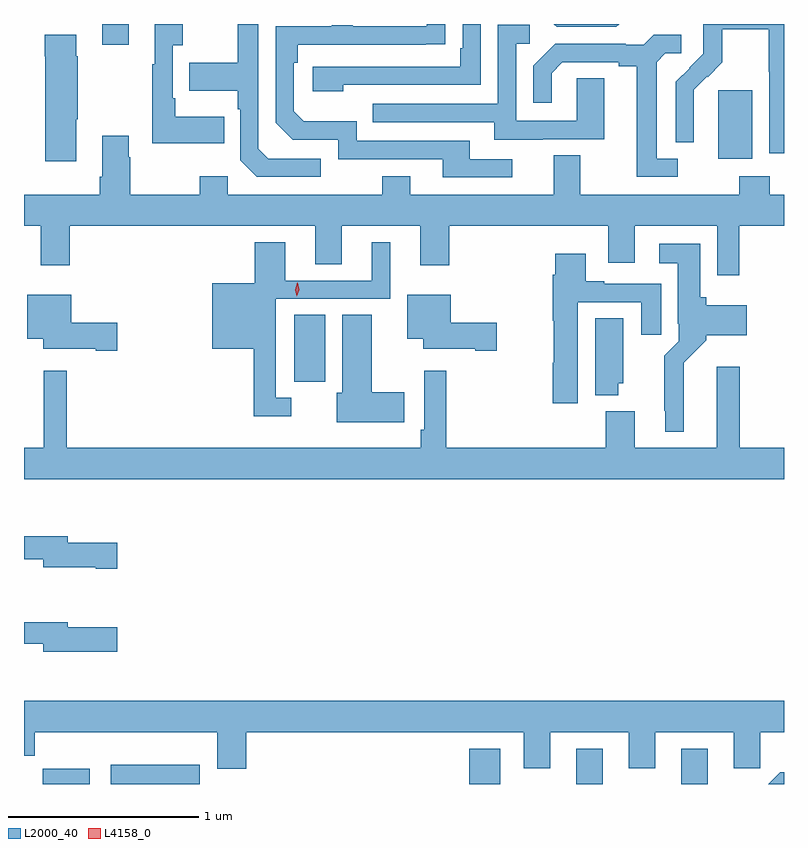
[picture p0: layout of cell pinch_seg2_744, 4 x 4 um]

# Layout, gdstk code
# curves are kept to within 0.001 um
import gdstk
lib = gdstk.Library(unit=1e-6, precision=1e-09)
def R(c, l, rs):  # rectangles x0, y0, x1, y1
    for r in rs: c.add(gdstk.rectangle(r[:2], r[2:], *l))
def P(c, l, *ps):  # polygons
    for p in ps: c.add(gdstk.Polygon(p, *l))
L2000_40 = (2000, 40)
L4158_0 = (4158, 0)

pinch_seg2_744 = lib.new_cell('pinch_seg2_744')
R(pinch_seg2_744, L2000_40, [(814.468,624.719,814.717,624.799), (814.827,624.719,815.296,624.82), (816.713,624.719,816.877,624.904), (817.277,624.719,817.417,624.904), (817.829,624.719,817.969,624.904), (815.792,626.835,815.956,627.188), (818.024,628.01,818.203,628.371), (814.781,628.611,814.921,628.719)])
P(pinch_seg2_744, L2000_40, [(816.94,628.008),(816.715,628.008),(816.715,628.104),(816.12,628.104),(816.12,628.207),(815.843,628.207),(815.79,628.26),(815.79,628.514),(815.81,628.514),(815.81,628.611),(816.587,628.612),(816.587,628.719),(816.491,628.719),(816.491,628.707),(816.101,628.707),(816.101,628.712),(815.989,628.712),(815.989,628.707),(815.694,628.707),(815.694,628.2),(815.784,628.11),(816.024,628.11),(816.024,628.008),(816.575,628.008),(816.575,627.912),(816.94,627.912)],
  [(815.423,628.231),(815.167,628.231),(815.167,628.327),(815.154,628.327),(815.154,628.607),(815.206,628.607),(815.206,628.719),(815.057,628.719),(815.057,628.507),(815.046,628.507),(815.046,628.091),(815.423,628.091)],
  [(818.37,628.719),(817.944,628.719),(817.944,628.659),(817.946,628.659),(817.946,628.562),(817.8,628.414),(817.8,628.096),(817.896,628.096),(817.895,628.373),(817.965,628.443),(817.968,628.44),(818.045,628.517),(818.045,628.692),(818.29,628.692),(818.29,628.468),(818.292,628.468),(818.292,628.039),(818.37,628.039)],
  [(817.503,628.719),(817.158,628.719),(817.173,628.704),(817.488,628.704)],
  [(816.05,628.398),(816.774,628.398),(816.774,628.719),(816.678,628.719),(816.678,628.591),(816.665,628.591),(816.665,628.494),(815.889,628.494),(815.889,628.364),(816.05,628.364)],
  [(815.932,628.011),(815.655,628.011),(815.604,628.062),(815.604,628.719),(815.496,628.719),(815.496,628.515),(815.239,628.515),(815.239,628.367),(815.496,628.367),(815.496,628.271),(815.508,628.271),(815.508,628.002),(815.595,627.915),(815.932,627.915)],
  [(817.099,628.113),(817.423,628.113),(817.423,628.433),(817.278,628.433),(817.278,628.209),(816.96,628.209),(816.96,628.614),(817.033,628.614),(817.033,628.715),(816.864,628.715),(816.864,628.299),(816.205,628.299),(816.205,628.203),(816.845,628.203),(816.845,628.109),(817.099,628.109)],
  [(814.645,628.219),(814.653,628.219),(814.653,628.55),(814.645,628.55),(814.645,628.663),(814.478,628.663),(814.478,628.55),(814.483,628.55),(814.483,627.996),(814.645,627.996)],
  [(817.81,628.011),(817.699,628.011),(817.699,628.519),(817.746,628.566),(817.828,628.566),(817.828,628.663),(817.684,628.663),(817.632,628.611),(817.538,628.611),(817.538,628.614),(817.166,628.614),(817.05,628.498),(817.05,628.305),(817.147,628.305),(817.147,628.461),(817.204,628.518),(817.499,628.518),(817.499,628.496),(817.595,628.496),(817.595,627.915),(817.81,627.915)],
  [(818.135,627.656),(818.37,627.656),(818.37,627.82),(818.294,627.82),(818.294,627.919),(818.134,627.919),(818.134,627.82),(817.297,627.82),(817.297,628.028),(817.157,628.028),(817.157,627.82),(816.403,627.82),(816.403,627.919),(816.256,627.919),(816.256,627.82),(815.442,627.82),(815.442,627.919),(815.296,627.919),(815.296,627.82),(814.929,627.82),(814.929,628.019),(814.921,628.019),(814.921,628.132),(814.781,628.132),(814.781,627.916),(814.769,627.916),(814.769,627.82),(814.37,627.82),(814.37,627.656),(814.457,627.656),(814.457,627.45),(814.61,627.45),(814.61,627.656),(815.903,627.656),(815.903,627.454),(816.043,627.454),(816.043,627.656),(816.455,627.656),(816.455,627.45),(816.608,627.45),(816.608,627.656),(817.445,627.656),(817.445,627.462),(817.585,627.462),(817.585,627.656),(818.019,627.656),(818.019,627.396),(818.135,627.396)],
  [(815.776,626.751),(815.694,626.751),(815.694,627.273),(816.298,627.273),(816.298,627.571),(816.2,627.571),(816.2,627.369),(815.746,627.369),(815.746,627.571),(815.585,627.571),(815.585,627.355),(815.36,627.355),(815.36,627.011),(815.578,627.011),(815.578,626.654),(815.776,626.654)],
  [(817.843,626.936),(817.961,627.054),(817.961,627.08),(818.173,627.08),(818.173,627.238),(817.961,627.238),(817.961,627.282),(817.93,627.282),(817.93,627.562),(817.713,627.562),(817.713,627.461),(817.811,627.461),(817.811,627.142),(817.815,627.142),(817.815,627.048),(817.741,626.974),(817.741,626.683),(817.745,626.683),(817.745,626.573),(817.843,626.573)],
  [(817.285,627.255),(817.619,627.255),(817.619,627.084),(817.723,627.084),(817.723,627.351),(817.423,627.351),(817.423,627.364),(817.327,627.364),(817.327,627.511),(817.166,627.511),(817.166,627.398),(817.154,627.398),(817.154,627.158),(817.159,627.158),(817.159,626.936),(817.154,626.936),(817.154,626.724),(817.285,626.724)],
  [(816.859,627.146),(816.616,627.146),(816.616,627.295),(816.386,627.295),(816.386,627.062),(816.47,627.062),(816.47,627.011),(816.746,627.011),(816.746,626.999),(816.859,626.999)],
  [(814.861,627.146),(814.618,627.146),(814.618,627.295),(814.388,627.295),(814.388,627.062),(814.472,627.062),(814.472,627.011),(814.748,627.011),(814.748,626.999),(814.861,626.999)],
  [(816.37,626.782),(816.199,626.782),(816.199,627.188),(816.044,627.188),(816.044,626.778),(816.017,626.778),(816.017,626.624),(816.37,626.624)],
  [(817.498,626.829),(817.525,626.829),(817.525,627.17),(817.376,627.17),(817.376,626.765),(817.498,626.765)],
  [(818.37,626.488),(818.138,626.488),(818.138,626.914),(818.015,626.914),(818.015,626.488),(817.585,626.488),(817.585,626.68),(817.433,626.68),(817.433,626.488),(816.593,626.488),(816.593,626.893),(816.477,626.893),(816.477,626.584),(816.457,626.584),(816.457,626.488),(814.595,626.488),(814.595,626.893),(814.474,626.893),(814.474,626.488),(814.37,626.488),(814.37,626.324),(818.37,626.324)],
  [(814.861,625.989),(814.6,625.989),(814.6,626.023),(814.37,626.023),(814.37,625.902),(814.472,625.902),(814.472,625.859),(814.748,625.859),(814.748,625.852),(814.861,625.852)],
  [(814.861,625.545),(814.6,625.545),(814.6,625.571),(814.37,625.571),(814.37,625.458),(814.472,625.458),(814.472,625.415),(814.861,625.415)],
  [(815.54,624.992),(817.001,624.992),(817.001,624.802),(817.141,624.802),(817.141,624.992),(817.553,624.992),(817.553,624.802),(817.693,624.802),(817.693,624.992),(818.105,624.992),(818.105,624.802),(818.244,624.802),(818.244,624.992),(818.37,624.992),(818.37,625.156),(814.37,625.156),(814.37,624.868),(814.427,624.868),(814.427,624.992),(815.387,624.992),(815.387,624.798),(815.54,624.798)],
  [(818.37,624.781),(818.35,624.781),(818.288,624.719),(818.37,624.719)])
P(pinch_seg2_744, L4158_0, [(815.806,627.285),(815.806,627.286),(815.798,627.321),(815.809,627.356),(815.809,627.356),(815.81,627.356),(815.818,627.32),(815.806,627.286)])

lib.write_gds('pinch_seg2_744.gds')
